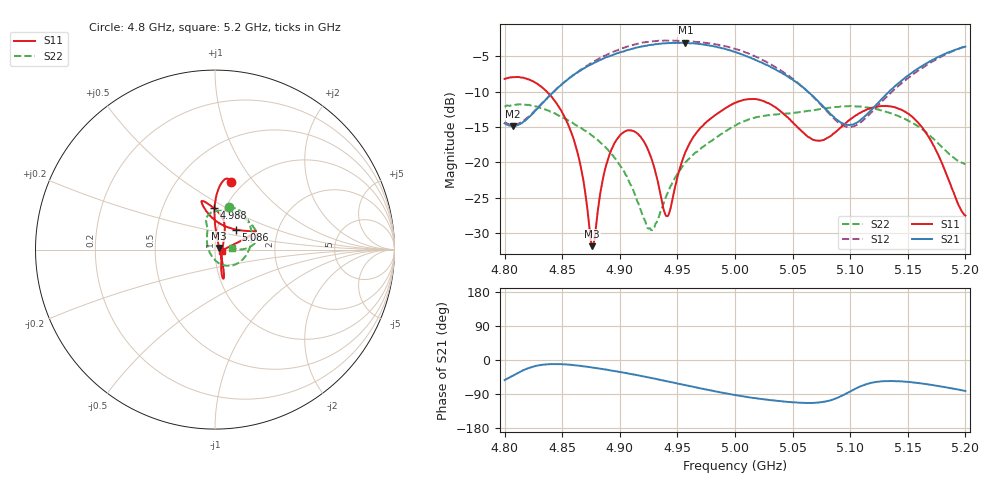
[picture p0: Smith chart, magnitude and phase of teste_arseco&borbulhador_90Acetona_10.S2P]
! Network Analyzer HP8722D
! Hewlett-Packard
! Data name: Linha & Wilkinson
! Saver's name: Rodrigo Anjos
! Comments: Teste da utilização de aquisição
! continua pelo VNA HP8722D
! Time and date: 17/4/2025 11:08
!  Frequency  S11  S21  S12  S22
# HZ  S  MA R 50
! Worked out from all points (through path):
!   401 points, 4.8 GHz to 5.2 GHz, reference 50 ohm
!   highest |S21| = -3.07 dB at 4.957 GHz (marker M1); lowest = -14.9 dB at 4.807 GHz (marker M2)
!   lowest |S11| = -31.9 dB at 4.876 GHz (marker M3), VSWR 1.05, Z = 52.4 + j0.941 ohm
!   |S11| at or under -10 dB: 4.837 GHz to end of sweep
!   |S22| runs from -29.6 to -11.8 dB; largest |S21 - S12| = 1.4
!   S11 on the Smith chart (normalised r, x): 4.8 GHz: 0.87, +0.78; 4.988 GHz: 0.89, +0.43; 5.086 GHz: 1.22, +0.28; 5.2 GHz: 1.08, -0.02
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4.8e9  0.3896 76.8  0.1889 -52.9  0.1921 82.1  0.248 71.7
4.807e9  0.4004 78.9  0.1806 -41.6  0.1837 92.4  0.2537 65.7
4.844e9  0.2691 89.6  0.3238 -10.6  0.3243 122.8  0.2213 22.5
4.858e9  0.1618 90.5  0.4037 -12.8  0.4055 122.6  0.1921 1.6
4.867e9  0.08534 84.4  0.4533 -16.1  0.4561 121.1  0.1736 -12.5
4.876e9  0.02548 20.6  0.4975 -19.8  0.51 119.0  0.1545 -26.7
4.888e9  0.09444 -62.9  0.5548 -25.4  0.5718 115.0  0.1263 -44.7
4.902e9  0.1605 -71.9  0.6065 -32.7  0.6405 109.0  0.09006 -66.6
4.914e9  0.1629 -74.9  0.6483 -39.3  0.6849 102.7  0.05721 -91.6
4.925e9  0.12 -73.1  0.6745 -46.0  0.7134 96.1  0.03393 -141.7
4.934e9  0.0668 -57.8  0.6899 -51.8  0.7263 90.2  0.04134 161.0
4.942e9  0.04186 4.2  0.6973 -56.8  0.7263 85.2  0.06169 135.8
4.957e9  0.1185 62.8  0.702 -66.4  0.7216 75.8  0.09994 115.8
4.988e9  0.2311 91.6  0.6443 -85.8  0.6728 55.8  0.1586 107.9
5e9  0.2635 100.0  0.6051 -92.5  0.6376 48.4  0.182 105.3
5.028e9  0.2636 105.7  0.4859 -104.6  0.5085 33.9  0.2151 88.9
5.067e9  0.1456 77.2  0.298 -113.2  0.2957 27.7  0.2326 54.6
5.086e9  0.1604 44.2  0.2088 -103.2  0.2037 39.6  0.2454 36.7
5.105e9  0.2153 28.6  0.1891 -75.0  0.1828 69.6  0.2489 22.2
5.134e9  0.2493 23.8  0.3181 -55.4  0.3036 91.1  0.2243 9.0
5.164e9  0.1694 19.9  0.4906 -62.5  0.4739 85.5  0.1679 1.5
5.2e9  0.04187 -14.3  0.6591 -81.8  0.6612 67.5  0.09679 5.7
